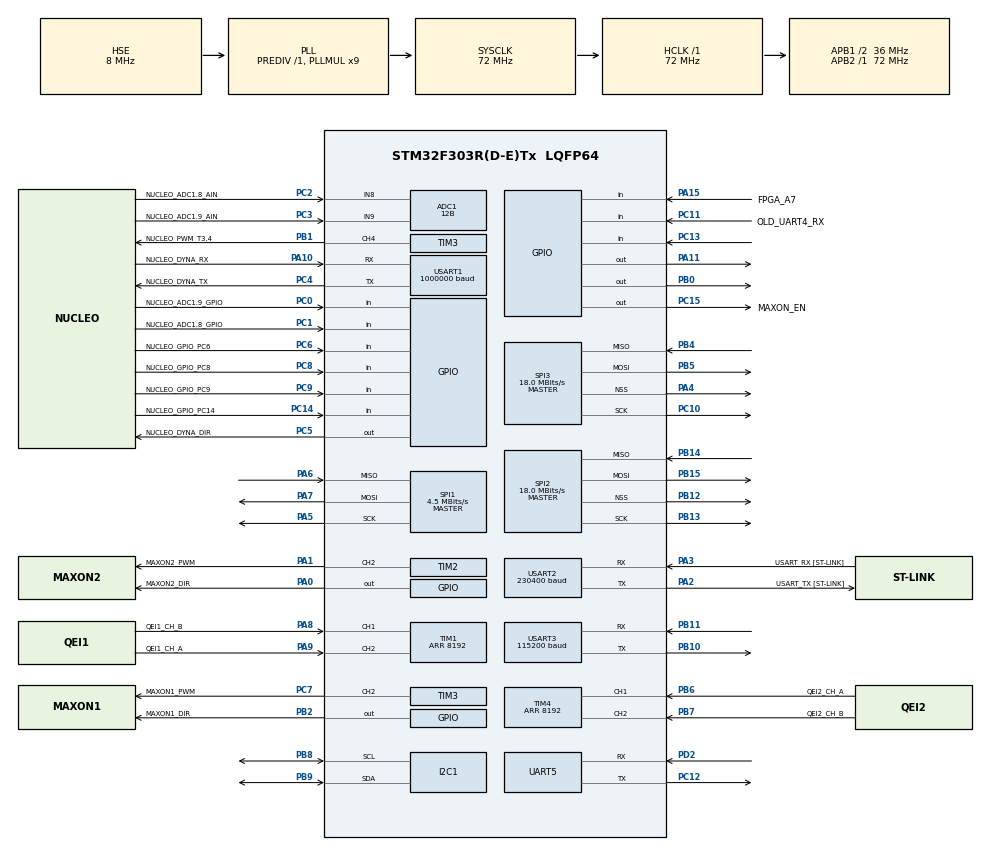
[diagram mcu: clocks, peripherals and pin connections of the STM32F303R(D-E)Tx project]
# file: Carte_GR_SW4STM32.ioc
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ADC1.Channel-0\#ChannelRegularConversion=ADC_CHANNEL_8
ADC1.ClockPrescaler=ADC_CLOCK_ASYNC_DIV1
ADC1.ContinuousConvMode=DISABLE
ADC1.DMAContinuousRequests=DISABLE
ADC1.DataAlign=ADC_DATAALIGN_RIGHT
ADC1.DiscontinuousConvMode=DISABLE
ADC1.EOCSelection=ADC_EOC_SINGLE_CONV
ADC1.EnableAnalogWatchDog1=false
ADC1.EnableAnalogWatchDog2=false
ADC1.EnableAnalogWatchDog3=false
ADC1.EnableInjectedConversion=ENABLE
ADC1.EnableRegularConversion=ENABLE
ADC1.ExternalTrigConv=ADC_SOFTWARE_START
ADC1.ExternalTrigConvEdge=ADC_EXTERNALTRIGCONVEDGE_NONE
ADC1.InjNumberOfConversion=0
ADC1.LowPowerAutoWait=DISABLE
ADC1.NbrOfConversion=1
ADC1.NbrOfConversionFlag=1
ADC1.Offset-0\#ChannelRegularConversion=0
ADC1.OffsetNumber-0\#ChannelRegularConversion=ADC_OFFSET_NONE
ADC1.Overrun=ADC_OVR_DATA_OVERWRITTEN
ADC1.Rank-0\#ChannelRegularConversion=1
ADC1.Resolution=ADC_RESOLUTION_12B
ADC1.SamplingTime-0\#ChannelRegularConversion=ADC_SAMPLETIME_1CYCLE_5
ADC1.ScanConvMode=ADC_SCAN_DISABLE
ADC1.master=1
Dma.Request0=USART3_RX
Dma.Request1=USART3_TX
Dma.Request2=USART2_RX
Dma.Request3=USART2_TX
Dma.USART2_RX.2.Direction=DMA_PERIPH_TO_MEMORY
Dma.USART2_RX.2.Instance=DMA1_Channel6
Dma.USART2_RX.2.MemDataAlignment=DMA_MDATAALIGN_BYTE
Dma.USART2_RX.2.MemInc=DMA_MINC_ENABLE
Dma.USART2_RX.2.Mode=DMA_CIRCULAR
Dma.USART2_RX.2.PeriphDataAlignment=DMA_PDATAALIGN_BYTE
Dma.USART2_RX.2.PeriphInc=DMA_PINC_DISABLE
Dma.USART2_RX.2.Priority=DMA_PRIORITY_VERY_HIGH
Dma.USART2_TX.3.Direction=DMA_MEMORY_TO_PERIPH
Dma.USART2_TX.3.Instance=DMA1_Channel7
Dma.USART2_TX.3.MemDataAlignment=DMA_MDATAALIGN_BYTE
Dma.USART2_TX.3.MemInc=DMA_MINC_ENABLE
Dma.USART2_TX.3.Mode=DMA_CIRCULAR
Dma.USART2_TX.3.PeriphDataAlignment=DMA_PDATAALIGN_BYTE
Dma.USART2_TX.3.PeriphInc=DMA_PINC_DISABLE
Dma.USART2_TX.3.Priority=DMA_PRIORITY_VERY_HIGH
Dma.USART3_RX.0.Direction=DMA_PERIPH_TO_MEMORY
Dma.USART3_RX.0.Instance=DMA1_Channel3
Dma.USART3_RX.0.MemDataAlignment=DMA_MDATAALIGN_BYTE
Dma.USART3_RX.0.MemInc=DMA_MINC_ENABLE
Dma.USART3_RX.0.Mode=DMA_NORMAL
Dma.USART3_RX.0.PeriphDataAlignment=DMA_PDATAALIGN_BYTE
Dma.USART3_RX.0.PeriphInc=DMA_PINC_DISABLE
Dma.USART3_RX.0.Priority=DMA_PRIORITY_LOW
Dma.USART3_TX.1.Direction=DMA_MEMORY_TO_PERIPH
Dma.USART3_TX.1.Instance=DMA1_Channel2
Dma.USART3_TX.1.MemDataAlignment=DMA_MDATAALIGN_BYTE
Dma.USART3_TX.1.MemInc=DMA_MINC_ENABLE
Dma.USART3_TX.1.Mode=DMA_NORMAL
Dma.USART3_TX.1.PeriphDataAlignment=DMA_PDATAALIGN_BYTE
Dma.USART3_TX.1.PeriphInc=DMA_PINC_DISABLE
Dma.USART3_TX.1.Priority=DMA_PRIORITY_LOW
FREERTOS.INCLUDE_vTaskDelayUntil=1
FREERTOS.MEMORY_ALLOCATION=0
FREERTOS.Tasks01=defaultTask,0,128,StartDefaultTask,Default,NULL,Dynamic,NULL,NULL
FREERTOS.configENABLE_BACKWARD_COMPATIBILITY=0
FREERTOS.configTOTAL_HEAP_SIZE=32768
I2C1.Timing=0x10808DD3
Mcu.Family=STM32F3
Mcu.Name=STM32F303R(D-E)Tx
Mcu.Package=LQFP64
NVIC.DMA1_Channel2_IRQn=true\:5\:0\:false\:false\:true\:true\:false\:true
NVIC.DMA1_Channel3_IRQn=true\:5\:0\:false\:false\:true\:true\:false\:true
NVIC.DMA1_Channel6_IRQn=true\:5\:0\:false\:false\:true\:true\:false\:true
NVIC.DMA1_Channel7_IRQn=true\:5\:0\:false\:false\:true\:true\:false\:true
NVIC.PriorityGroup=NVIC_PRIORITYGROUP_4
NVIC.SPI1_IRQn=true\:5\:0\:false\:false\:true\:true\:true\:true
NVIC.TIM6_DAC_IRQn=true\:0\:0\:false\:false\:true\:false\:true\:true
NVIC.TimeBase=TIM6_DAC_IRQn
NVIC.TimeBaseIP=TIM6
NVIC.USART1_IRQn=true\:5\:0\:false\:false\:true\:true\:true\:true
NVIC.USART2_IRQn=true\:5\:0\:false\:false\:true\:true\:true\:true
NVIC.USART3_IRQn=true\:5\:0\:false\:false\:true\:true\:true\:true
PA0.GPIO_Label=MAXON2_DIR
PA0.Signal=GPIO_Output
PA1.GPIO_Label=MAXON2_PWM
PA1.Signal=S_TIM2_CH2
PA10.GPIO_Label=NUCLEO_DYNA_RX
PA10.Mode=Asynchronous
PA10.Signal=USART1_RX
PA11.Signal=GPIO_Output
PA12.Signal=S_TIM16_CH1
PA13.GPIO_Label=TMS
PA13.Mode=Trace_Asynchronous_SW
PA13.Signal=SYS_JTMS-SWDIO
PA14.GPIO_Label=TCK
PA14.Mode=Trace_Asynchronous_SW
PA14.Signal=SYS_JTCK-SWCLK
PA15.GPIO_Label=FPGA_A7
PA15.GPIO_PuPd=GPIO_PULLUP
PA15.Signal=GPIO_Input
PA2.GPIO_Label=USART_TX [ST-LINK]
PA2.GPIO_Mode=GPIO_MODE_AF_PP
PA2.GPIO_PuPd=GPIO_NOPULL
PA2.GPIO_Speed=GPIO_SPEED_FREQ_LOW
PA2.Mode=Asynchronous
PA2.Signal=USART2_TX
PA3.GPIO_Label=USART_RX [ST-LINK]
PA3.GPIO_Mode=GPIO_MODE_AF_PP
PA3.GPIO_PuPd=GPIO_NOPULL
PA3.GPIO_Speed=GPIO_SPEED_FREQ_LOW
PA3.Mode=Asynchronous
PA3.Signal=USART2_RX
PA4.Mode=NSS_Signal_Hard_Output
PA4.Signal=SPI3_NSS
PA5.Mode=Full_Duplex_Master
PA5.Signal=SPI1_SCK
PA6.Mode=Full_Duplex_Master
PA6.Signal=SPI1_MISO
PA7.Mode=Full_Duplex_Master
PA7.Signal=SPI1_MOSI
PA8.GPIO_Label=QEI1_CH_B
PA8.Signal=S_TIM1_CH1
PA9.GPIO_Label=QEI1_CH_A
PA9.Signal=S_TIM1_CH2
PB0.Signal=GPIO_Output
PB1.GPIO_Label=NUCLEO_PWM_T3.4
PB1.Signal=S_TIM3_CH4
PB10.Mode=Asynchronous
PB10.Signal=USART3_TX
PB11.Mode=Asynchronous
PB11.Signal=USART3_RX
PB12.Mode=NSS_Signal_Hard_Output
PB12.Signal=SPI2_NSS
PB13.Mode=Full_Duplex_Master
PB13.Signal=SPI2_SCK
PB14.Mode=Full_Duplex_Master
PB14.Signal=SPI2_MISO
PB15.Mode=Full_Duplex_Master
PB15.Signal=SPI2_MOSI
PB2.GPIO_Label=MAXON1_DIR
PB2.Signal=GPIO_Output
PB3.GPIO_Label=SWO
PB3.Mode=Trace_Asynchronous_SW
PB3.Signal=SYS_JTDO-TRACESWO
PB4.Mode=Full_Duplex_Master
PB4.Signal=SPI3_MISO
PB5.Mode=Full_Duplex_Master
PB5.Signal=SPI3_MOSI
PB6.GPIO_Label=QEI2_CH_A
PB6.Signal=S_TIM4_CH1
PB7.GPIO_Label=QEI2_CH_B
PB7.Signal=S_TIM4_CH2
PB8.Mode=I2C
PB8.Signal=I2C1_SCL
PB9.Mode=I2C
PB9.Signal=I2C1_SDA
PC0.GPIO_Label=NUCLEO_ADC1.9_GPIO
PC0.GPIO_PuPd=GPIO_PULLUP
PC0.Signal=GPIO_Input
PC1.GPIO_Label=NUCLEO_ADC1.8_GPIO
PC1.GPIO_PuPd=GPIO_PULLUP
PC1.Signal=GPIO_Input
PC10.Mode=Full_Duplex_Master
PC10.Signal=SPI3_SCK
PC11.GPIO_Label=OLD_UART4_RX
PC11.GPIO_PuPd=GPIO_PULLUP
PC11.Signal=GPIO_Input
PC12.Mode=Asynchronous
PC12.Signal=UART5_TX
PC13.Signal=GPIO_Input
PC14-OSC32_IN.GPIO_Label=NUCLEO_GPIO_PC14
PC14-OSC32_IN.GPIO_PuPd=GPIO_PULLUP
PC14-OSC32_IN.Signal=GPIO_Input
PC15-OSC32_OUT.GPIO_Label=MAXON_EN
PC15-OSC32_OUT.Signal=GPIO_Output
PC2.GPIO_Label=NUCLEO_ADC1.8_AIN
PC2.Signal=ADCx_IN8
PC3.GPIO_Label=NUCLEO_ADC1.9_AIN
PC3.Signal=ADCx_IN9
PC4.GPIO_Label=NUCLEO_DYNA_TX
PC4.Mode=Asynchronous
PC4.Signal=USART1_TX
PC5.GPIO_Label=NUCLEO_DYNA_DIR
PC5.Signal=GPIO_Output
PC6.GPIO_Label=NUCLEO_GPIO_PC6
PC6.GPIO_PuPd=GPIO_PULLUP
PC6.Signal=GPIO_Input
PC7.GPIO_Label=MAXON1_PWM
PC7.Signal=S_TIM3_CH2
PC8.GPIO_Label=NUCLEO_GPIO_PC8
PC8.GPIO_PuPd=GPIO_PULLUP
PC8.Signal=GPIO_Input
PC9.GPIO_Label=NUCLEO_GPIO_PC9
PC9.GPIO_PuPd=GPIO_PULLUP
PC9.Signal=GPIO_Input
PD2.Mode=Asynchronous
PD2.Signal=UART5_RX
PF0-OSC_IN.Mode=HSE-External-Clock-Source
PF0-OSC_IN.Signal=RCC_OSC_IN
ProjectManager.HeapSize=0x200
ProjectManager.StackSize=0x400
ProjectManager.TargetToolchain=SW4STM32
RCC.AHBFreq_Value=72000000
RCC.APB1CLKDivider=RCC_HCLK_DIV2
RCC.APB1Freq_Value=36000000
RCC.APB1TimFreq_Value=72000000
RCC.APB2Freq_Value=72000000
RCC.APB2TimFreq_Value=72000000
RCC.CortexFreq_Value=72000000
RCC.EnbaleCSS=true
RCC.HCLKFreq_Value=72000000
RCC.HSE_VALUE=8000000
RCC.HSI_VALUE=8000000
RCC.I2c1ClockSelection=RCC_I2C1CLKSOURCE_SYSCLK
RCC.LSE_VALUE=32768
RCC.PLLM=8
RCC.PLLMUL=RCC_PLL_MUL9
RCC.PLLN=336
RCC.PLLP=RCC_PLLP_DIV4
RCC.PLLQ=7
RCC.PLLSourceVirtual=RCC_PLLSOURCE_HSE
RCC.RCC_PLLsource_Clock_Source_FROM_HSE=RCC_HSE_PREDIV_DIV2
RCC.SYSCLKFreq_VALUE=72000000
RCC.SYSCLKSourceVirtual=RCC_SYSCLKSOURCE_PLLCLK
RCC.USBFreq_Value=72000000
RCC.Uart5ClockSelection=RCC_UART5CLKSOURCE_SYSCLK
RCC.Usart2ClockSelection=RCC_USART2CLKSOURCE_SYSCLK
RCC.Usart3ClockSelection=RCC_USART3CLKSOURCE_SYSCLK
SH.ADCx_IN8.0=ADC1_IN8,IN8-Single-Ended
SH.ADCx_IN9.0=ADC1_IN9,IN9-Single-Ended
SH.S_TIM16_CH1.0=TIM16_CH1
SH.S_TIM1_CH1.0=TIM1_CH1,Encoder_Interface
SH.S_TIM1_CH2.0=TIM1_CH2,Encoder_Interface
SH.S_TIM2_CH2.0=TIM2_CH2,PWM Generation2 CH2
SH.S_TIM3_CH2.0=TIM3_CH2,PWM Generation2 CH2
SH.S_TIM3_CH4.0=TIM3_CH4,PWM Generation4 CH4
SH.S_TIM4_CH1.0=TIM4_CH1,Encoder_Interface
SH.S_TIM4_CH2.0=TIM4_CH2,Encoder_Interface
SPI1.BaudRatePrescaler=SPI_BAUDRATEPRESCALER_16
SPI1.CalculateBaudRate=4.5 MBits/s
SPI1.DataSize=SPI_DATASIZE_8BIT
SPI1.Direction=SPI_DIRECTION_2LINES
SPI1.Mode=SPI_MODE_MASTER
SPI1.NSSPMode=SPI_NSS_PULSE_DISABLE
SPI1.VirtualType=VM_MASTER
SPI2.BaudRatePrescaler=SPI_BAUDRATEPRESCALER_2
SPI2.CalculateBaudRate=18.0 MBits/s
SPI2.Direction=SPI_DIRECTION_2LINES
SPI2.Mode=SPI_MODE_MASTER
SPI2.VirtualNSS=VM_NSSHARD
SPI2.VirtualType=VM_MASTER
SPI3.BaudRatePrescaler=SPI_BAUDRATEPRESCALER_2
SPI3.CalculateBaudRate=18.0 MBits/s
SPI3.Direction=SPI_DIRECTION_2LINES
SPI3.Mode=SPI_MODE_MASTER
SPI3.VirtualNSS=VM_NSSHARD
SPI3.VirtualType=VM_MASTER
TIM1.EncoderMode=TIM_ENCODERMODE_TI12
TIM1.Period=8192
TIM16.Channel=TIM_CHANNEL_1
TIM16.Period=1000
TIM16.Prescaler=720
TIM2.Channel-PWM\ Generation2\ CH2=TIM_CHANNEL_2
TIM2.Period=10000
TIM3.Channel-PWM\ Generation2\ CH2=TIM_CHANNEL_2
TIM3.Channel-PWM\ Generation4\ CH4=TIM_CHANNEL_4
TIM3.Period=10000
TIM4.EncoderMode=TIM_ENCODERMODE_TI12
TIM4.Period=8192
USART1.BaudRate=1000000
USART1.VirtualMode-Asynchronous=VM_ASYNC
USART1.WordLength=WORDLENGTH_8B
USART2.BaudRate=230400
USART2.VirtualMode-Asynchronous=VM_ASYNC
USART2.WordLength=WORDLENGTH_8B
USART3.BaudRate=115200
USART3.VirtualMode-Asynchronous=VM_ASYNC
USART3.WordLength=WORDLENGTH_8B
VP_FREERTOS_VS_CMSIS_V1.Mode=CMSIS_V1
VP_SYS_VS_tim6.Mode=TIM6
VP_TIM16_VS_ClockSourceINT.Mode=Enable_Timer
VP_TIM16_VS_no_output1.Mode=PWM Generation1 No Output
VP_TIM2_VS_ClockSourceINT.Mode=Internal
VP_TIM3_VS_ClockSourceINT.Mode=Internal
board=NUCLEO-F303RE

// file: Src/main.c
/* USER CODE BEGIN Header */
/**
  ******************************************************************************
  * @file           : main.c
  * @brief          : Main program body
  ******************************************************************************
  * @attention
  *
  * <h2><center>&copy; Copyright (c) 2019 STMicroelectronics.
  * All rights reserved.</center></h2>
  *
  * This software component is licensed by ST under Ultimate Liberty license
  * SLA0044, the "License"; You may not use this file except in compliance with
  * the License. You may obtain a copy of the License at:
  *                             www.st.com/SLA0044
  *
  ******************************************************************************
  */
/* USER CODE END Header */

#include "main.h"
#include "cmsis_os.h"

/* USER CODE BEGIN Includes */
#include "goldo/goldobot_main.h"
/* USER CODE END Includes */

ADC_HandleTypeDef hadc1;

I2C_HandleTypeDef hi2c1;

SPI_HandleTypeDef hspi1;
SPI_HandleTypeDef hspi2;
SPI_HandleTypeDef hspi3;

TIM_HandleTypeDef htim1;
TIM_HandleTypeDef htim2;
TIM_HandleTypeDef htim3;
TIM_HandleTypeDef htim4;
TIM_HandleTypeDef htim16;

UART_HandleTypeDef huart5;
UART_HandleTypeDef huart1;
UART_HandleTypeDef huart2;
UART_HandleTypeDef huart3;
DMA_HandleTypeDef hdma_usart3_rx;
DMA_HandleTypeDef hdma_usart3_tx;

osThreadId defaultTaskHandle;
/* USER CODE BEGIN PV */
/* Private variables ---------------------------------------------------------*/
/* USER CODE END PV */

void SystemClock_Config(void);
static void MX_GPIO_Init(void);
static void MX_DMA_Init(void);
static void MX_TIM1_Init(void);
static void MX_TIM4_Init(void);
static void MX_ADC1_Init(void);
static void MX_I2C1_Init(void);
static void MX_TIM3_Init(void);
static void MX_TIM2_Init(void);
static void MX_USART3_UART_Init(void);
static void MX_SPI2_Init(void);
static void MX_USART1_UART_Init(void);
static void MX_SPI3_Init(void);
static void MX_UART5_Init(void);
static void MX_USART2_UART_Init(void);
static void MX_TIM16_Init(void);
static void MX_SPI1_Init(void);
void StartDefaultTask(void const * argument);

/* USER CODE BEGIN PFP */
/* Private function prototypes -----------------------------------------------*/

/* USER CODE END PFP */

/* USER CODE BEGIN 0 */

void FPU_IRQHandler(void)
{
   while(1){};
}

void NMI_Handler(void)
{
   while(1){};
}

void HardFault_Handler(void)
{
   while(1){};
}

void MemManage_Handler(void)
{
   while(1){};
}

void BusFault_Handler(void)
{
   while(1){};
}

void UsageFault_Handler(void)
{
   while(1){};
}

/* USER CODE END 0 */

int main(void)
{

  /* MCU Configuration--------------------------------------------------------*/

  /* Reset of all peripherals, Initializes the Flash interface and the Systick. */
  HAL_Init();

  /* Configure the system clock */
  SystemClock_Config();

  /* Initialize all configured peripherals */
  MX_GPIO_Init();
  MX_DMA_Init();
  MX_TIM1_Init();
  MX_TIM4_Init();
  MX_ADC1_Init();
  MX_I2C1_Init();
  MX_TIM3_Init();
  MX_TIM2_Init();
  MX_USART3_UART_Init();
  MX_SPI2_Init();
  MX_USART1_UART_Init();
  MX_SPI3_Init();
  MX_UART5_Init();
  MX_USART2_UART_Init();
  MX_TIM16_Init();
  MX_SPI1_Init();

  /* Create the thread(s) */
  /* definition and creation of defaultTask */
  osThreadDef(defaultTask, StartDefaultTask, osPriorityNormal, 0, 128);
  defaultTaskHandle = osThreadCreate(osThread(defaultTask), NULL);

  /* USER CODE BEGIN RTOS_THREADS */
  /* add threads, ... */
  goldobot_main();
  /* USER CODE END RTOS_THREADS */

  /* USER CODE BEGIN RTOS_QUEUES */
  /* add queues, ... */
  char test_buf[] = "TEST_GOLDO";
  HAL_UART_Transmit_IT(&huart3, test_buf, 10);
  /* USER CODE END RTOS_QUEUES */

  /* Start scheduler */
  osKernelStart();

  /* We should never get here as control is now taken by the scheduler */

  /* Infinite loop */
  while (1)
  {

  }
}

void SystemClock_Config(void)
{
  RCC_OscInitTypeDef RCC_OscInitStruct = {0};
  RCC_ClkInitTypeDef RCC_ClkInitStruct = {0};
  RCC_PeriphCLKInitTypeDef PeriphClkInit = {0};

  /** Initializes the CPU, AHB and APB busses clocks
  */
  RCC_OscInitStruct.OscillatorType = RCC_OSCILLATORTYPE_HSE;
  RCC_OscInitStruct.HSEState = RCC_HSE_BYPASS;
  RCC_OscInitStruct.HSIState = RCC_HSI_ON;
  RCC_OscInitStruct.PLL.PLLState = RCC_PLL_ON;
  RCC_OscInitStruct.PLL.PLLSource = RCC_PLLSOURCE_HSE;
  RCC_OscInitStruct.PLL.PLLMUL = RCC_PLL_MUL9;
  RCC_OscInitStruct.PLL.PREDIV = RCC_PREDIV_DIV1;
  if (HAL_RCC_OscConfig(&RCC_OscInitStruct) != HAL_OK)
  {
    Error_Handler();
  }
  /** Initializes the CPU, AHB and APB busses clocks
  */
  RCC_ClkInitStruct.ClockType = RCC_CLOCKTYPE_HCLK|RCC_CLOCKTYPE_SYSCLK
                              |RCC_CLOCKTYPE_PCLK1|RCC_CLOCKTYPE_PCLK2;
  RCC_ClkInitStruct.SYSCLKSource = RCC_SYSCLKSOURCE_PLLCLK;
  RCC_ClkInitStruct.AHBCLKDivider = RCC_SYSCLK_DIV1;
  RCC_ClkInitStruct.APB1CLKDivider = RCC_HCLK_DIV2;
  RCC_ClkInitStruct.APB2CLKDivider = RCC_HCLK_DIV1;

  if (HAL_RCC_ClockConfig(&RCC_ClkInitStruct, FLASH_LATENCY_2) != HAL_OK)
  {
    Error_Handler();
  }
  PeriphClkInit.PeriphClockSelection = RCC_PERIPHCLK_USART1|RCC_PERIPHCLK_USART2
                              |RCC_PERIPHCLK_USART3|RCC_PERIPHCLK_UART5
                              |RCC_PERIPHCLK_I2C1|RCC_PERIPHCLK_TIM1
                              |RCC_PERIPHCLK_TIM16|RCC_PERIPHCLK_ADC12
                              |RCC_PERIPHCLK_TIM2|RCC_PERIPHCLK_TIM34;
  PeriphClkInit.Usart1ClockSelection = RCC_USART1CLKSOURCE_PCLK2;
  PeriphClkInit.Usart2ClockSelection = RCC_USART2CLKSOURCE_SYSCLK;
  PeriphClkInit.Usart3ClockSelection = RCC_USART3CLKSOURCE_SYSCLK;
  PeriphClkInit.Uart5ClockSelection = RCC_UART5CLKSOURCE_SYSCLK;
  PeriphClkInit.Adc12ClockSelection = RCC_ADC12PLLCLK_DIV1;
  PeriphClkInit.I2c1ClockSelection = RCC_I2C1CLKSOURCE_SYSCLK;
  PeriphClkInit.Tim1ClockSelection = RCC_TIM1CLK_HCLK;
  PeriphClkInit.Tim16ClockSelection = RCC_TIM16CLK_HCLK;
  PeriphClkInit.Tim2ClockSelection = RCC_TIM2CLK_HCLK;
  PeriphClkInit.Tim34ClockSelection = RCC_TIM34CLK_HCLK;
  if (HAL_RCCEx_PeriphCLKConfig(&PeriphClkInit) != HAL_OK)
  {
    Error_Handler();
  }
  /** Enables the Clock Security System
  */
  HAL_RCC_EnableCSS();
}

static void MX_ADC1_Init(void)
{

  ADC_MultiModeTypeDef multimode = {0};
  ADC_ChannelConfTypeDef sConfig = {0};

  /** Common config
  */
  hadc1.Instance = ADC1;
  hadc1.Init.ClockPrescaler = ADC_CLOCK_ASYNC_DIV1;
  hadc1.Init.Resolution = ADC_RESOLUTION_12B;
  hadc1.Init.ScanConvMode = ADC_SCAN_DISABLE;
  hadc1.Init.ContinuousConvMode = DISABLE;
  hadc1.Init.DiscontinuousConvMode = DISABLE;
  hadc1.Init.ExternalTrigConvEdge = ADC_EXTERNALTRIGCONVEDGE_NONE;
  hadc1.Init.ExternalTrigConv = ADC_SOFTWARE_START;
  hadc1.Init.DataAlign = ADC_DATAALIGN_RIGHT;
  hadc1.Init.NbrOfConversion = 1;
  hadc1.Init.DMAContinuousRequests = DISABLE;
  hadc1.Init.EOCSelection = ADC_EOC_SINGLE_CONV;
  hadc1.Init.LowPowerAutoWait = DISABLE;
  hadc1.Init.Overrun = ADC_OVR_DATA_OVERWRITTEN;
  if (HAL_ADC_Init(&hadc1) != HAL_OK)
  {
    Error_Handler();
  }
  /** Configure the ADC multi-mode
  */
  multimode.Mode = ADC_MODE_INDEPENDENT;
  if (HAL_ADCEx_MultiModeConfigChannel(&hadc1, &multimode) != HAL_OK)
  {
    Error_Handler();
  }
  /** Configure Regular Channel
  */
  sConfig.Channel = ADC_CHANNEL_8;
  sConfig.Rank = ADC_REGULAR_RANK_1;
  sConfig.SingleDiff = ADC_SINGLE_ENDED;
  sConfig.SamplingTime = ADC_SAMPLETIME_1CYCLE_5;
  sConfig.OffsetNumber = ADC_OFFSET_NONE;
  sConfig.Offset = 0;
  if (HAL_ADC_ConfigChannel(&hadc1, &sConfig) != HAL_OK)
  {
    Error_Handler();
  }

}

static void MX_I2C1_Init(void)
{

  hi2c1.Instance = I2C1;
  hi2c1.Init.Timing = 0x10808DD3;
  hi2c1.Init.OwnAddress1 = 0;
  hi2c1.Init.AddressingMode = I2C_ADDRESSINGMODE_7BIT;
  hi2c1.Init.DualAddressMode = I2C_DUALADDRESS_DISABLE;
  hi2c1.Init.OwnAddress2 = 0;
  hi2c1.Init.OwnAddress2Masks = I2C_OA2_NOMASK;
  hi2c1.Init.GeneralCallMode = I2C_GENERALCALL_DISABLE;
  hi2c1.Init.NoStretchMode = I2C_NOSTRETCH_DISABLE;
  if (HAL_I2C_Init(&hi2c1) != HAL_OK)
  {
    Error_Handler();
  }
  /** Configure Analogue filter
  */
  if (HAL_I2CEx_ConfigAnalogFilter(&hi2c1, I2C_ANALOGFILTER_ENABLE) != HAL_OK)
  {
    Error_Handler();
  }
  /** Configure Digital filter
  */
  if (HAL_I2CEx_ConfigDigitalFilter(&hi2c1, 0) != HAL_OK)
  {
    Error_Handler();
  }

}

static void MX_SPI1_Init(void)
{

  /* SPI1 parameter configuration*/
  hspi1.Instance = SPI1;
  hspi1.Init.Mode = SPI_MODE_MASTER;
  hspi1.Init.Direction = SPI_DIRECTION_2LINES;
  hspi1.Init.DataSize = SPI_DATASIZE_8BIT;
  hspi1.Init.CLKPolarity = SPI_POLARITY_LOW;
  hspi1.Init.CLKPhase = SPI_PHASE_1EDGE;
  hspi1.Init.NSS = SPI_NSS_SOFT;
  hspi1.Init.BaudRatePrescaler = SPI_BAUDRATEPRESCALER_16;
  hspi1.Init.FirstBit = SPI_FIRSTBIT_MSB;
  hspi1.Init.TIMode = SPI_TIMODE_DISABLE;
  hspi1.Init.CRCCalculation = SPI_CRCCALCULATION_DISABLE;
  hspi1.Init.CRCPolynomial = 7;
  hspi1.Init.CRCLength = SPI_CRC_LENGTH_DATASIZE;
  hspi1.Init.NSSPMode = SPI_NSS_PULSE_DISABLE;
  if (HAL_SPI_Init(&hspi1) != HAL_OK)
  {
    Error_Handler();
  }

}

static void MX_SPI2_Init(void)
{

  /* SPI2 parameter configuration*/
  hspi2.Instance = SPI2;
  hspi2.Init.Mode = SPI_MODE_MASTER;
  hspi2.Init.Direction = SPI_DIRECTION_2LINES;
  hspi2.Init.DataSize = SPI_DATASIZE_4BIT;
  hspi2.Init.CLKPolarity = SPI_POLARITY_LOW;
  hspi2.Init.CLKPhase = SPI_PHASE_1EDGE;
  hspi2.Init.NSS = SPI_NSS_HARD_OUTPUT;
  hspi2.Init.BaudRatePrescaler = SPI_BAUDRATEPRESCALER_2;
  hspi2.Init.FirstBit = SPI_FIRSTBIT_MSB;
  hspi2.Init.TIMode = SPI_TIMODE_DISABLE;
  hspi2.Init.CRCCalculation = SPI_CRCCALCULATION_DISABLE;
  hspi2.Init.CRCPolynomial = 7;
  hspi2.Init.CRCLength = SPI_CRC_LENGTH_DATASIZE;
  hspi2.Init.NSSPMode = SPI_NSS_PULSE_ENABLE;
  if (HAL_SPI_Init(&hspi2) != HAL_OK)
  {
    Error_Handler();
  }

}

static void MX_SPI3_Init(void)
{

  /* SPI3 parameter configuration*/
  hspi3.Instance = SPI3;
  hspi3.Init.Mode = SPI_MODE_MASTER;
  hspi3.Init.Direction = SPI_DIRECTION_2LINES;
  hspi3.Init.DataSize = SPI_DATASIZE_4BIT;
  hspi3.Init.CLKPolarity = SPI_POLARITY_LOW;
  hspi3.Init.CLKPhase = SPI_PHASE_1EDGE;
  hspi3.Init.NSS = SPI_NSS_HARD_OUTPUT;
  hspi3.Init.BaudRatePrescaler = SPI_BAUDRATEPRESCALER_2;
  hspi3.Init.FirstBit = SPI_FIRSTBIT_MSB;
  hspi3.Init.TIMode = SPI_TIMODE_DISABLE;
  hspi3.Init.CRCCalculation = SPI_CRCCALCULATION_DISABLE;
  hspi3.Init.CRCPolynomial = 7;
  hspi3.Init.CRCLength = SPI_CRC_LENGTH_DATASIZE;
  hspi3.Init.NSSPMode = SPI_NSS_PULSE_ENABLE;
  if (HAL_SPI_Init(&hspi3) != HAL_OK)
  {
    Error_Handler();
  }

}

static void MX_TIM1_Init(void)
{

  TIM_Encoder_InitTypeDef sConfig = {0};
  TIM_MasterConfigTypeDef sMasterConfig = {0};

  htim1.Instance = TIM1;
  htim1.Init.Prescaler = 0;
  htim1.Init.CounterMode = TIM_COUNTERMODE_UP;
#if 0 /* FIXME : TODO : WTF? */
  htim1.Init.Period = 8192;
#else
  htim1.Init.Period = 32767;
#endif
  htim1.Init.ClockDivision = TIM_CLOCKDIVISION_DIV1;
  htim1.Init.RepetitionCounter = 0;
  htim1.Init.AutoReloadPreload = TIM_AUTORELOAD_PRELOAD_DISABLE;
  sConfig.EncoderMode = TIM_ENCODERMODE_TI12;
  sConfig.IC1Polarity = TIM_ICPOLARITY_RISING;
  sConfig.IC1Selection = TIM_ICSELECTION_DIRECTTI;
  sConfig.IC1Prescaler = TIM_ICPSC_DIV1;
  sConfig.IC1Filter = 0;
  sConfig.IC2Polarity = TIM_ICPOLARITY_RISING;
  sConfig.IC2Selection = TIM_ICSELECTION_DIRECTTI;
  sConfig.IC2Prescaler = TIM_ICPSC_DIV1;
  sConfig.IC2Filter = 0;
  if (HAL_TIM_Encoder_Init(&htim1, &sConfig) != HAL_OK)
  {
    Error_Handler();
  }
  sMasterConfig.MasterOutputTrigger = TIM_TRGO_RESET;
  sMasterConfig.MasterOutputTrigger2 = TIM_TRGO2_RESET;
  sMasterConfig.MasterSlaveMode = TIM_MASTERSLAVEMODE_DISABLE;
  if (HAL_TIMEx_MasterConfigSynchronization(&htim1, &sMasterConfig) != HAL_OK)
  {
    Error_Handler();
  }

}

static void MX_TIM2_Init(void)
{

  TIM_ClockConfigTypeDef sClockSourceConfig = {0};
  TIM_MasterConfigTypeDef sMasterConfig = {0};
  TIM_OC_InitTypeDef sConfigOC = {0};

  htim2.Instance = TIM2;
  htim2.Init.Prescaler = 0;
  htim2.Init.CounterMode = TIM_COUNTERMODE_UP;
  htim2.Init.Period = 10000;
  htim2.Init.ClockDivision = TIM_CLOCKDIVISION_DIV1;
  htim2.Init.AutoReloadPreload = TIM_AUTORELOAD_PRELOAD_DISABLE;
  if (HAL_TIM_Base_Init(&htim2) != HAL_OK)
  {
    Error_Handler();
  }
  sClockSourceConfig.ClockSource = TIM_CLOCKSOURCE_INTERNAL;
  if (HAL_TIM_ConfigClockSource(&htim2, &sClockSourceConfig) != HAL_OK)
  {
    Error_Handler();
  }
  if (HAL_TIM_PWM_Init(&htim2) != HAL_OK)
  {
    Error_Handler();
  }
  sMasterConfig.MasterOutputTrigger = TIM_TRGO_RESET;
  sMasterConfig.MasterSlaveMode = TIM_MASTERSLAVEMODE_DISABLE;
  if (HAL_TIMEx_MasterConfigSynchronization(&htim2, &sMasterConfig) != HAL_OK)
  {
    Error_Handler();
  }
  sConfigOC.OCMode = TIM_OCMODE_PWM1;
  sConfigOC.Pulse = 0;
  sConfigOC.OCPolarity = TIM_OCPOLARITY_HIGH;
  sConfigOC.OCFastMode = TIM_OCFAST_DISABLE;
  if (HAL_TIM_PWM_ConfigChannel(&htim2, &sConfigOC, TIM_CHANNEL_2) != HAL_OK)
  {
    Error_Handler();
  }
  HAL_TIM_MspPostInit(&htim2);

}

static void MX_TIM3_Init(void)
{

  TIM_ClockConfigTypeDef sClockSourceConfig = {0};
  TIM_MasterConfigTypeDef sMasterConfig = {0};
  TIM_OC_InitTypeDef sConfigOC = {0};

  htim3.Instance = TIM3;
  htim3.Init.Prescaler = 0;
  htim3.Init.CounterMode = TIM_COUNTERMODE_UP;
  htim3.Init.Period = 10000;
  htim3.Init.ClockDivision = TIM_CLOCKDIVISION_DIV1;
  htim3.Init.AutoReloadPreload = TIM_AUTORELOAD_PRELOAD_DISABLE;
  if (HAL_TIM_Base_Init(&htim3) != HAL_OK)
  {
    Error_Handler();
  }
  sClockSourceConfig.ClockSource = TIM_CLOCKSOURCE_INTERNAL;
  if (HAL_TIM_ConfigClockSource(&htim3, &sClockSourceConfig) != HAL_OK)
  {
    Error_Handler();
  }
  if (HAL_TIM_PWM_Init(&htim3) != HAL_OK)
  {
    Error_Handler();
  }
  sMasterConfig.MasterOutputTrigger = TIM_TRGO_RESET;
  sMasterConfig.MasterSlaveMode = TIM_MASTERSLAVEMODE_DISABLE;
  if (HAL_TIMEx_MasterConfigSynchronization(&htim3, &sMasterConfig) != HAL_OK)
  {
    Error_Handler();
  }
  sConfigOC.OCMode = TIM_OCMODE_PWM1;
  sConfigOC.Pulse = 0;
  sConfigOC.OCPolarity = TIM_OCPOLARITY_HIGH;
  sConfigOC.OCFastMode = TIM_OCFAST_DISABLE;
  if (HAL_TIM_PWM_ConfigChannel(&htim3, &sConfigOC, TIM_CHANNEL_2) != HAL_OK)
  {
    Error_Handler();
  }
  if (HAL_TIM_PWM_ConfigChannel(&htim3, &sConfigOC, TIM_CHANNEL_4) != HAL_OK)
  {
    Error_Handler();
  }
  HAL_TIM_MspPostInit(&htim3);

}

static void MX_TIM4_Init(void)
{

  TIM_Encoder_InitTypeDef sConfig = {0};
  TIM_MasterConfigTypeDef sMasterConfig = {0};

  htim4.Instance = TIM4;
  htim4.Init.Prescaler = 0;
  htim4.Init.CounterMode = TIM_COUNTERMODE_UP;
#if 0 /* FIXME : TODO : WTF? */
  htim4.Init.Period = 8192;
#else
  htim4.Init.Period = 32767;
#endif
  htim4.Init.ClockDivision = TIM_CLOCKDIVISION_DIV1;
  htim4.Init.AutoReloadPreload = TIM_AUTORELOAD_PRELOAD_DISABLE;
  sConfig.EncoderMode = TIM_ENCODERMODE_TI12;
  sConfig.IC1Polarity = TIM_ICPOLARITY_RISING;
  sConfig.IC1Selection = TIM_ICSELECTION_DIRECTTI;
  sConfig.IC1Prescaler = TIM_ICPSC_DIV1;
  sConfig.IC1Filter = 0;
  sConfig.IC2Polarity = TIM_ICPOLARITY_RISING;
  sConfig.IC2Selection = TIM_ICSELECTION_DIRECTTI;
  sConfig.IC2Prescaler = TIM_ICPSC_DIV1;
  sConfig.IC2Filter = 0;
  if (HAL_TIM_Encoder_Init(&htim4, &sConfig) != HAL_OK)
  {
    Error_Handler();
  }
  sMasterConfig.MasterOutputTrigger = TIM_TRGO_RESET;
  sMasterConfig.MasterSlaveMode = TIM_MASTERSLAVEMODE_DISABLE;
  if (HAL_TIMEx_MasterConfigSynchronization(&htim4, &sMasterConfig) != HAL_OK)
  {
    Error_Handler();
  }

}

static void MX_TIM16_Init(void)
{

  TIM_OC_InitTypeDef sConfigOC = {0};
  TIM_BreakDeadTimeConfigTypeDef sBreakDeadTimeConfig = {0};

  htim16.Instance = TIM16;
  htim16.Init.Prescaler = 720;
  htim16.Init.CounterMode = TIM_COUNTERMODE_UP;
  htim16.Init.Period = 1000;
  htim16.Init.ClockDivision = TIM_CLOCKDIVISION_DIV1;
  htim16.Init.RepetitionCounter = 0;
  htim16.Init.AutoReloadPreload = TIM_AUTORELOAD_PRELOAD_DISABLE;
  if (HAL_TIM_Base_Init(&htim16) != HAL_OK)
  {
    Error_Handler();
  }
  if (HAL_TIM_PWM_Init(&htim16) != HAL_OK)
  {
    Error_Handler();
  }
  sConfigOC.OCMode = TIM_OCMODE_PWM1;
  sConfigOC.Pulse = 0;
  sConfigOC.OCPolarity = TIM_OCPOLARITY_HIGH;
  sConfigOC.OCNPolarity = TIM_OCNPOLARITY_HIGH;
  sConfigOC.OCFastMode = TIM_OCFAST_DISABLE;
  sConfigOC.OCIdleState = TIM_OCIDLESTATE_RESET;
  sConfigOC.OCNIdleState = TIM_OCNIDLESTATE_RESET;
  if (HAL_TIM_PWM_ConfigChannel(&htim16, &sConfigOC, TIM_CHANNEL_1) != HAL_OK)
  {
    Error_Handler();
  }
  sBreakDeadTimeConfig.OffStateRunMode = TIM_OSSR_DISABLE;
  sBreakDeadTimeConfig.OffStateIDLEMode = TIM_OSSI_DISABLE;
  sBreakDeadTimeConfig.LockLevel = TIM_LOCKLEVEL_OFF;
  sBreakDeadTimeConfig.DeadTime = 0;
  sBreakDeadTimeConfig.BreakState = TIM_BREAK_DISABLE;
  sBreakDeadTimeConfig.BreakPolarity = TIM_BREAKPOLARITY_HIGH;
  sBreakDeadTimeConfig.BreakFilter = 0;
  sBreakDeadTimeConfig.AutomaticOutput = TIM_AUTOMATICOUTPUT_DISABLE;
  if (HAL_TIMEx_ConfigBreakDeadTime(&htim16, &sBreakDeadTimeConfig) != HAL_OK)
  {
    Error_Handler();
  }

}

static void MX_UART5_Init(void)
{

  huart5.Instance = UART5;
  huart5.Init.BaudRate = 115200;
  huart5.Init.WordLength = UART_WORDLENGTH_8B;
  huart5.Init.StopBits = UART_STOPBITS_1;
  huart5.Init.Parity = UART_PARITY_NONE;
  huart5.Init.Mode = UART_MODE_TX_RX;
  huart5.Init.HwFlowCtl = UART_HWCONTROL_NONE;
  huart5.Init.OverSampling = UART_OVERSAMPLING_16;
  huart5.Init.OneBitSampling = UART_ONE_BIT_SAMPLE_DISABLE;
  huart5.AdvancedInit.AdvFeatureInit = UART_ADVFEATURE_NO_INIT;
  if (HAL_UART_Init(&huart5) != HAL_OK)
  {
    Error_Handler();
  }

}

static void MX_USART1_UART_Init(void)
{

  huart1.Instance = USART1;
  huart1.Init.BaudRate = 1000000;
  huart1.Init.WordLength = UART_WORDLENGTH_8B;
  huart1.Init.StopBits = UART_STOPBITS_1;
  huart1.Init.Parity = UART_PARITY_NONE;
  huart1.Init.Mode = UART_MODE_TX_RX;
  huart1.Init.HwFlowCtl = UART_HWCONTROL_NONE;
  huart1.Init.OverSampling = UART_OVERSAMPLING_16;
  huart1.Init.OneBitSampling = UART_ONE_BIT_SAMPLE_DISABLE;
  huart1.AdvancedInit.AdvFeatureInit = UART_ADVFEATURE_NO_INIT;
  if (HAL_UART_Init(&huart1) != HAL_OK)
  {
    Error_Handler();
  }

}

static void MX_USART2_UART_Init(void)
{

  huart2.Instance = USART2;
  huart2.Init.BaudRate = 230400;
  huart2.Init.WordLength = UART_WORDLENGTH_8B;
  huart2.Init.StopBits = UART_STOPBITS_1;
  huart2.Init.Parity = UART_PARITY_NONE;
  huart2.Init.Mode = UART_MODE_TX_RX;
  huart2.Init.HwFlowCtl = UART_HWCONTROL_NONE;
  huart2.Init.OverSampling = UART_OVERSAMPLING_16;
  huart2.Init.OneBitSampling = UART_ONE_BIT_SAMPLE_DISABLE;
  huart2.AdvancedInit.AdvFeatureInit = UART_ADVFEATURE_NO_INIT;
  if (HAL_UART_Init(&huart2) != HAL_OK)
  {
    Error_Handler();
  }

}

static void MX_USART3_UART_Init(void)
{

  huart3.Instance = USART3;
  huart3.Init.BaudRate = 115200;
  huart3.Init.WordLength = UART_WORDLENGTH_8B;
  huart3.Init.StopBits = UART_STOPBITS_1;
  huart3.Init.Parity = UART_PARITY_NONE;
  huart3.Init.Mode = UART_MODE_TX_RX;
  huart3.Init.HwFlowCtl = UART_HWCONTROL_NONE;
  huart3.Init.OverSampling = UART_OVERSAMPLING_16;
  huart3.Init.OneBitSampling = UART_ONE_BIT_SAMPLE_DISABLE;
  huart3.AdvancedInit.AdvFeatureInit = UART_ADVFEATURE_NO_INIT;
  if (HAL_UART_Init(&huart3) != HAL_OK)
  {
    Error_Handler();
  }

}

static void MX_DMA_Init(void)
{
  /* DMA controller clock enable */
  __HAL_RCC_DMA1_CLK_ENABLE();

  /* DMA interrupt init */
  /* DMA1_Channel2_IRQn interrupt configuration */
  HAL_NVIC_SetPriority(DMA1_Channel2_IRQn, 5, 0);
  HAL_NVIC_EnableIRQ(DMA1_Channel2_IRQn);
  /* DMA1_Channel3_IRQn interrupt configuration */
  HAL_NVIC_SetPriority(DMA1_Channel3_IRQn, 5, 0);
  HAL_NVIC_EnableIRQ(DMA1_Channel3_IRQn);

}

static void MX_GPIO_Init(void)
{
  GPIO_InitTypeDef GPIO_InitStruct = {0};

  /* GPIO Ports Clock Enable */
  __HAL_RCC_GPIOC_CLK_ENABLE();
  __HAL_RCC_GPIOF_CLK_ENABLE();
  __HAL_RCC_GPIOA_CLK_ENABLE();
  __HAL_RCC_GPIOB_CLK_ENABLE();
  __HAL_RCC_GPIOD_CLK_ENABLE();

  /*Configure GPIO pin Output Level */
  HAL_GPIO_WritePin(GPIOC, MAXON_EN_Pin|NUCLEO_DYNA_DIR_Pin, GPIO_PIN_RESET);

  /*Configure GPIO pin Output Level */
  HAL_GPIO_WritePin(GPIOA, MAXON2_DIR_Pin|GPIO_PIN_11, GPIO_PIN_RESET);

  /*Configure GPIO pin Output Level */
  HAL_GPIO_WritePin(GPIOB, GPIO_PIN_0|MAXON1_DIR_Pin, GPIO_PIN_RESET);

  /*Configure GPIO pin : PC13 */
  GPIO_InitStruct.Pin = GPIO_PIN_13;
  GPIO_InitStruct.Mode = GPIO_MODE_INPUT;
  GPIO_InitStruct.Pull = GPIO_NOPULL;
  HAL_GPIO_Init(GPIOC, &GPIO_InitStruct);

  /*Configure GPIO pins : NUCLEO_GPIO_PC14_Pin NUCLEO_ADC1_9_GPIO_Pin NUCLEO_ADC1_8_GPIO_Pin NUCLEO_GPIO_PC6_Pin
                           NUCLEO_GPIO_PC8_Pin NUCLEO_GPIO_PC9_Pin OLD_UART4_RX_Pin */
  GPIO_InitStruct.Pin = NUCLEO_GPIO_PC14_Pin|NUCLEO_ADC1_9_GPIO_Pin|NUCLEO_ADC1_8_GPIO_Pin|NUCLEO_GPIO_PC6_Pin
                          |NUCLEO_GPIO_PC8_Pin|NUCLEO_GPIO_PC9_Pin|OLD_UART4_RX_Pin;
  GPIO_InitStruct.Mode = GPIO_MODE_INPUT;
  GPIO_InitStruct.Pull = GPIO_PULLUP;
  HAL_GPIO_Init(GPIOC, &GPIO_InitStruct);

  /*Configure GPIO pins : MAXON_EN_Pin NUCLEO_DYNA_DIR_Pin */
  GPIO_InitStruct.Pin = MAXON_EN_Pin|NUCLEO_DYNA_DIR_Pin;
  GPIO_InitStruct.Mode = GPIO_MODE_OUTPUT_PP;
  GPIO_InitStruct.Pull = GPIO_NOPULL;
  GPIO_InitStruct.Speed = GPIO_SPEED_FREQ_LOW;
  HAL_GPIO_Init(GPIOC, &GPIO_InitStruct);

  /*Configure GPIO pins : MAXON2_DIR_Pin PA11 */
  GPIO_InitStruct.Pin = MAXON2_DIR_Pin|GPIO_PIN_11;
  GPIO_InitStruct.Mode = GPIO_MODE_OUTPUT_PP;
  GPIO_InitStruct.Pull = GPIO_NOPULL;
  GPIO_InitStruct.Speed = GPIO_SPEED_FREQ_LOW;
  HAL_GPIO_Init(GPIOA, &GPIO_InitStruct);

  /*Configure GPIO pins : PB0 MAXON1_DIR_Pin */
  GPIO_InitStruct.Pin = GPIO_PIN_0|MAXON1_DIR_Pin;
  GPIO_InitStruct.Mode = GPIO_MODE_OUTPUT_PP;
  GPIO_InitStruct.Pull = GPIO_NOPULL;
  GPIO_InitStruct.Speed = GPIO_SPEED_FREQ_LOW;
  HAL_GPIO_Init(GPIOB, &GPIO_InitStruct);

  /*Configure GPIO pin : FPGA_A7_Pin */
  GPIO_InitStruct.Pin = FPGA_A7_Pin;
  GPIO_InitStruct.Mode = GPIO_MODE_INPUT;
  GPIO_InitStruct.Pull = GPIO_PULLUP;
  HAL_GPIO_Init(FPGA_A7_GPIO_Port, &GPIO_InitStruct);

}

void StartDefaultTask(void const * argument)
{

  for(;;)
  {
    osDelay(1);
  }
}

void HAL_TIM_PeriodElapsedCallback(TIM_HandleTypeDef *htim)
{
  if (htim->Instance == TIM6) {
    HAL_IncTick();
  }
}

void Error_Handler(void)
{
  while(1)
  {
  }
}

/************************ (C) COPYRIGHT STMicroelectronics *****END OF FILE****/
